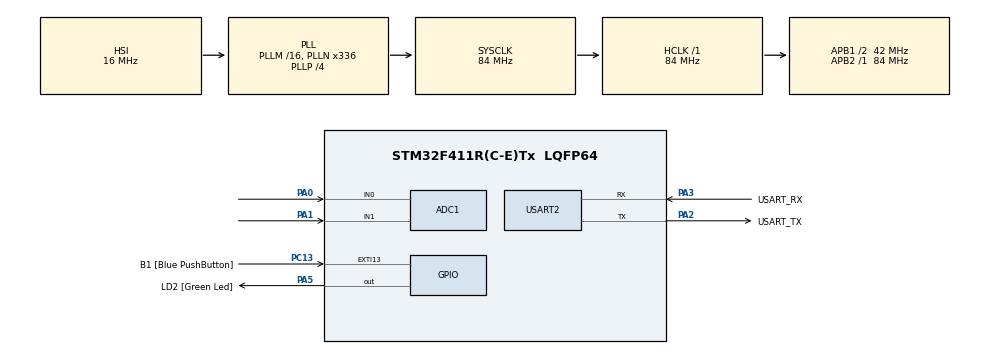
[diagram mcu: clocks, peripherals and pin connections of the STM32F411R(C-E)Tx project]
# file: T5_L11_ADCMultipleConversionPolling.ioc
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ADC1.Channel-1\#ChannelRegularConversion=ADC_CHANNEL_0
ADC1.ClockPrescaler=ADC_CLOCK_SYNC_PCLK_DIV8
ADC1.NbrOfConversionFlag=1
ADC1.Rank-1\#ChannelRegularConversion=1
ADC1.SamplingTime-1\#ChannelRegularConversion=ADC_SAMPLETIME_480CYCLES
ADC1.master=1
Mcu.Family=STM32F4
Mcu.Name=STM32F411R(C-E)Tx
Mcu.Package=LQFP64
NVIC.PriorityGroup=NVIC_PRIORITYGROUP_0
PA0-WKUP.Signal=ADCx_IN0
PA1.Signal=ADCx_IN1
PA13.GPIO_Label=TMS
PA13.Mode=Serial_Wire
PA13.Signal=SYS_JTMS-SWDIO
PA14.GPIO_Label=TCK
PA14.Mode=Serial_Wire
PA14.Signal=SYS_JTCK-SWCLK
PA2.GPIO_Label=USART_TX
PA2.Mode=Asynchronous
PA2.Signal=USART2_TX
PA3.GPIO_Label=USART_RX
PA3.Mode=Asynchronous
PA3.Signal=USART2_RX
PA5.GPIO_Label=LD2 [Green Led]
PA5.Signal=GPIO_Output
PB3.GPIO_Label=SWO
PB3.Signal=SYS_JTDO-SWO
PC13-ANTI_TAMP.GPIO_Label=B1 [Blue PushButton]
PC13-ANTI_TAMP.GPIO_ModeDefaultEXTI=GPIO_MODE_IT_FALLING
PC13-ANTI_TAMP.Signal=GPXTI13
PC14-OSC32_IN.Mode=LSE-External-Oscillator
PC14-OSC32_IN.Signal=RCC_OSC32_IN
PC15-OSC32_OUT.Mode=LSE-External-Oscillator
PC15-OSC32_OUT.Signal=RCC_OSC32_OUT
PH0\ -\ OSC_IN.Mode=HSE-External-Clock-Source
PH0\ -\ OSC_IN.Signal=RCC_OSC_IN
PH1\ -\ OSC_OUT.Mode=HSE-External-Clock-Source
PH1\ -\ OSC_OUT.Signal=RCC_OSC_OUT
ProjectManager.HeapSize=0x200
ProjectManager.StackSize=0x400
ProjectManager.TargetToolchain=STM32CubeIDE
RCC.48MHZClocksFreq_Value=84000000
RCC.AHBFreq_Value=84000000
RCC.APB1CLKDivider=RCC_HCLK_DIV2
RCC.APB1Freq_Value=42000000
RCC.APB1TimFreq_Value=84000000
RCC.APB2Freq_Value=84000000
RCC.APB2TimFreq_Value=84000000
RCC.CortexFreq_Value=84000000
RCC.FLatency-AdvancedSettings=FLASH_LATENCY_2
RCC.HCLKFreq_Value=84000000
RCC.HSE_VALUE=8000000
RCC.HSI_VALUE=16000000
RCC.PLLN=336
RCC.PLLP=RCC_PLLP_DIV4
RCC.SYSCLKFreq_VALUE=84000000
RCC.SYSCLKSource=RCC_SYSCLKSOURCE_PLLCLK
RCC.VCOOutputFreq_Value=336000000
SH.ADCx_IN0.0=ADC1_IN0,IN0
SH.ADCx_IN1.0=ADC1_IN1,IN1
USART2.VirtualMode=VM_ASYNC
board=NUCLEO-F411RE

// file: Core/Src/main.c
/* USER CODE BEGIN Header */
/**
  ******************************************************************************
  * @file           : main.c
  * @brief          : Main program body
  ******************************************************************************
  * @attention
  *
  * <h2><center>&copy; Copyright (c) 2022 STMicroelectronics.
  * All rights reserved.</center></h2>
  *
  * This software component is licensed by ST under BSD 3-Clause license,
  * the "License"; You may not use this file except in compliance with the
  * License. You may obtain a copy of the License at:
  *                        opensource.org/licenses/BSD-3-Clause
  *
  ******************************************************************************
  */
/* USER CODE END Header */
#include "main.h"
#include "adc.h"
#include "usart.h"
#include "gpio.h"

/* USER CODE BEGIN PV */
uint16_t AdcValueX;
uint16_t AdcValueY;
/* USER CODE END PV */

void SystemClock_Config(void);
/* USER CODE BEGIN PFP */
void SetChannel(uint32_t Channel);
/* USER CODE END PFP */

int main(void)
{

  /* MCU Configuration--------------------------------------------------------*/

  /* Reset of all peripherals, Initializes the Flash interface and the Systick. */
  HAL_Init();

  /* Configure the system clock */
  SystemClock_Config();

  /* Initialize all configured peripherals */
  MX_GPIO_Init();
  MX_USART2_UART_Init();
  MX_ADC1_Init();

  /* Infinite loop */
  /* USER CODE BEGIN WHILE */
  while (1)
  {
	//CH0
	SetChannel(ADC_CHANNEL_0);

	HAL_ADC_Start(&hadc1);
	if(HAL_ADC_PollForConversion(&hadc1,1000) == HAL_OK)
	{
		AdcValueX = HAL_ADC_GetValue(&hadc1);
	}

	//CH1
	SetChannel(ADC_CHANNEL_1);

	HAL_ADC_Start(&hadc1);

	if(HAL_ADC_PollForConversion(&hadc1,1000) == HAL_OK)
	{
		AdcValueY = HAL_ADC_GetValue(&hadc1);
	}
    /* USER CODE END WHILE */

  }
}

void SystemClock_Config(void)
{
  RCC_OscInitTypeDef RCC_OscInitStruct = {0};
  RCC_ClkInitTypeDef RCC_ClkInitStruct = {0};

  /** Configure the main internal regulator output voltage
  */
  __HAL_RCC_PWR_CLK_ENABLE();
  __HAL_PWR_VOLTAGESCALING_CONFIG(PWR_REGULATOR_VOLTAGE_SCALE1);
  /** Initializes the RCC Oscillators according to the specified parameters
  * in the RCC_OscInitTypeDef structure.
  */
  RCC_OscInitStruct.OscillatorType = RCC_OSCILLATORTYPE_HSI;
  RCC_OscInitStruct.HSIState = RCC_HSI_ON;
  RCC_OscInitStruct.HSICalibrationValue = RCC_HSICALIBRATION_DEFAULT;
  RCC_OscInitStruct.PLL.PLLState = RCC_PLL_ON;
  RCC_OscInitStruct.PLL.PLLSource = RCC_PLLSOURCE_HSI;
  RCC_OscInitStruct.PLL.PLLM = 16;
  RCC_OscInitStruct.PLL.PLLN = 336;
  RCC_OscInitStruct.PLL.PLLP = RCC_PLLP_DIV4;
  RCC_OscInitStruct.PLL.PLLQ = 4;
  if (HAL_RCC_OscConfig(&RCC_OscInitStruct) != HAL_OK)
  {
    Error_Handler();
  }
  /** Initializes the CPU, AHB and APB buses clocks
  */
  RCC_ClkInitStruct.ClockType = RCC_CLOCKTYPE_HCLK|RCC_CLOCKTYPE_SYSCLK
                              |RCC_CLOCKTYPE_PCLK1|RCC_CLOCKTYPE_PCLK2;
  RCC_ClkInitStruct.SYSCLKSource = RCC_SYSCLKSOURCE_PLLCLK;
  RCC_ClkInitStruct.AHBCLKDivider = RCC_SYSCLK_DIV1;
  RCC_ClkInitStruct.APB1CLKDivider = RCC_HCLK_DIV2;
  RCC_ClkInitStruct.APB2CLKDivider = RCC_HCLK_DIV1;

  if (HAL_RCC_ClockConfig(&RCC_ClkInitStruct, FLASH_LATENCY_2) != HAL_OK)
  {
    Error_Handler();
  }
}

/* USER CODE BEGIN 4 */
void SetChannel(uint32_t Channel)
{
	ADC_ChannelConfTypeDef sConfig = {0};
	sConfig.Channel = Channel;
	sConfig.Rank = 1;
	sConfig.SamplingTime = ADC_SAMPLETIME_480CYCLES;
	if (HAL_ADC_ConfigChannel(&hadc1, &sConfig) != HAL_OK)
	{
		Error_Handler();
	}
}
/* USER CODE END 4 */

void Error_Handler(void)
{
  __disable_irq();
  while (1)
  {
  }
}

/************************ (C) COPYRIGHT STMicroelectronics *****END OF FILE****/
